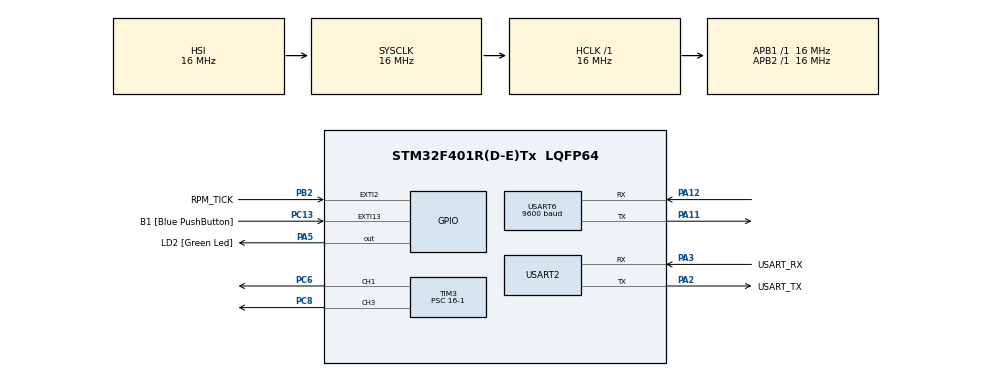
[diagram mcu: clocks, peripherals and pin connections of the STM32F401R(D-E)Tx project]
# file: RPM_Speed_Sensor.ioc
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Mcu.Family=STM32F4
Mcu.Name=STM32F401R(D-E)Tx
Mcu.Package=LQFP64
NVIC.EXTI15_10_IRQn=true\:0\:0\:false\:false\:true\:true\:true\:true
NVIC.EXTI2_IRQn=true\:0\:0\:false\:false\:true\:true\:true\:true
NVIC.PriorityGroup=NVIC_PRIORITYGROUP_0
NVIC.TIM3_IRQn=true\:0\:0\:false\:false\:true\:true\:true\:true
NVIC.USART6_IRQn=true\:0\:0\:false\:false\:true\:true\:true\:true
PA11.Mode=Asynchronous
PA11.Signal=USART6_TX
PA12.Mode=Asynchronous
PA12.Signal=USART6_RX
PA13.GPIO_Label=TMS
PA13.Mode=Serial_Wire
PA13.Signal=SYS_JTMS-SWDIO
PA14.GPIO_Label=TCK
PA14.Mode=Serial_Wire
PA14.Signal=SYS_JTCK-SWCLK
PA2.GPIO_Label=USART_TX
PA2.GPIO_Mode=GPIO_MODE_AF_PP
PA2.GPIO_PuPd=GPIO_NOPULL
PA2.GPIO_Speed=GPIO_SPEED_FREQ_LOW
PA2.Mode=Asynchronous
PA2.Signal=USART2_TX
PA3.GPIO_Label=USART_RX
PA3.GPIO_Mode=GPIO_MODE_AF_PP
PA3.GPIO_PuPd=GPIO_NOPULL
PA3.GPIO_Speed=GPIO_SPEED_FREQ_LOW
PA3.Mode=Asynchronous
PA3.Signal=USART2_RX
PA5.GPIO_Label=LD2 [Green Led]
PA5.GPIO_Mode=GPIO_MODE_OUTPUT_PP
PA5.GPIO_PuPd=GPIO_NOPULL
PA5.GPIO_Speed=GPIO_SPEED_FREQ_LOW
PA5.Signal=GPIO_Output
PB2.GPIO_Label=RPM_TICK
PB2.Signal=GPXTI2
PB3.GPIO_Label=SWO
PB3.Signal=SYS_JTDO-SWO
PC13-ANTI_TAMP.GPIO_Label=B1 [Blue PushButton]
PC13-ANTI_TAMP.GPIO_ModeDefaultEXTI=GPIO_MODE_IT_FALLING
PC13-ANTI_TAMP.GPIO_PuPd=GPIO_NOPULL
PC13-ANTI_TAMP.Signal=GPXTI13
PC14-OSC32_IN.Mode=LSE-External-Oscillator
PC14-OSC32_IN.Signal=RCC_OSC32_IN
PC15-OSC32_OUT.Mode=LSE-External-Oscillator
PC15-OSC32_OUT.Signal=RCC_OSC32_OUT
PC6.Signal=S_TIM3_CH1
PC8.Signal=S_TIM3_CH3
PH0\ -\ OSC_IN.Mode=HSE-External-Clock-Source
PH0\ -\ OSC_IN.Signal=RCC_OSC_IN
PH1\ -\ OSC_OUT.Mode=HSE-External-Clock-Source
PH1\ -\ OSC_OUT.Signal=RCC_OSC_OUT
ProjectManager.HeapSize=0x200
ProjectManager.StackSize=0x400
ProjectManager.TargetToolchain=STM32CubeIDE
RCC.48MHZClocksFreq_Value=48000000
RCC.AHBFreq_Value=16000000
RCC.APB1Freq_Value=16000000
RCC.APB1TimFreq_Value=16000000
RCC.APB2Freq_Value=16000000
RCC.APB2TimFreq_Value=16000000
RCC.CortexFreq_Value=16000000
RCC.HCLKFreq_Value=16000000
RCC.HSE_VALUE=8000000
RCC.HSI_VALUE=16000000
RCC.PLLN=336
RCC.PLLP=RCC_PLLP_DIV4
RCC.PLLQ=7
RCC.SYSCLKFreq_VALUE=16000000
RCC.VCOOutputFreq_Value=336000000
SH.S_TIM3_CH1.0=TIM3_CH1,PWM Generation1 CH1
SH.S_TIM3_CH3.0=TIM3_CH3,PWM Generation3 CH3
TIM3.Channel-PWM\ Generation1\ CH1=TIM_CHANNEL_1
TIM3.Channel-PWM\ Generation3\ CH3=TIM_CHANNEL_3
TIM3.Period=2000-1
TIM3.Prescaler=16-1
TIM3.Pulse-PWM\ Generation1\ CH1=1200-1
USART2.VirtualMode=VM_ASYNC
USART6.BaudRate=9600
USART6.VirtualMode=VM_ASYNC
VP_TIM3_VS_ClockSourceINT.Mode=Internal
board=NUCLEO-F401RE

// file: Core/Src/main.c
/* USER CODE BEGIN Header */
/**
  ******************************************************************************
  * @file           : main.c
  * @brief          : Main program body
  ******************************************************************************
  * @attention
  *
  * Copyright (c) 2024 STMicroelectronics.
  * All rights reserved.
  *
  * This software is licensed under terms that can be found in the LICENSE file
  * in the root directory of this software component.
  * If no LICENSE file comes with this software, it is provided AS-IS.
  *
  ******************************************************************************
  */
/* USER CODE END Header */
#include "main.h"

/* USER CODE BEGIN Includes */
#include <string.h>
#include <stdio.h>
/* USER CODE END Includes */

TIM_HandleTypeDef htim3;

UART_HandleTypeDef huart2;
UART_HandleTypeDef huart6;

void SystemClock_Config(void);
static void MX_GPIO_Init(void);
static void MX_USART2_UART_Init(void);
static void MX_TIM3_Init(void);
static void MX_USART6_UART_Init(void);

/* USER CODE BEGIN 0 */
int rpm_tick_count = 0;
/* USER CODE END 0 */

int main(void)
{

  /* USER CODE BEGIN 1 */
	uint8_t txd_msg_buffer[64] = {0};
  /* USER CODE END 1 */

  /* MCU Configuration--------------------------------------------------------*/

  /* Reset of all peripherals, Initializes the Flash interface and the Systick. */
  HAL_Init();

  /* Configure the system clock */
  SystemClock_Config();

  /* Initialize all configured peripherals */
  MX_GPIO_Init();
  MX_USART2_UART_Init();
  MX_TIM3_Init();
  MX_USART6_UART_Init();
  /* USER CODE BEGIN 2 */

  HAL_TIM_Base_Init(&htim3);
  HAL_TIM_PWM_Start(&htim3, TIM_CHANNEL_1);
  HAL_TIM_PWM_Start(&htim3, TIM_CHANNEL_3);

  int TIM3_Ch1_DCVAL = 0;
  int TIM3_Ch3_DCVAL = 0;
  /* USER CODE END 2 */

  /* Infinite loop */
  while (1)
  {

    /* USER CODE BEGIN 3 */
	  rpm_tick_count = 0;
	  while (TIM3_Ch1_DCVAL < 60000) {
		  TIM3_Ch1_DCVAL += 50;
		  TIM3->CCR1 = TIM3_Ch1_DCVAL;
		  HAL_Delay(1);
	  }

	  while (TIM3_Ch1_DCVAL > 0) {
		  TIM3_Ch1_DCVAL -= 50;
		  TIM3->CCR1 = TIM3_Ch1_DCVAL;
		  HAL_Delay(1);
	  }

	  sprintf((char *) txd_msg_buffer, "RPM: %d \r\n", rpm_tick_count);
	  HAL_UART_Transmit(&huart6, txd_msg_buffer, strlen((char *)txd_msg_buffer), 100);

	  HAL_Delay(5000);

	  rpm_tick_count = 0;

	  while (TIM3_Ch3_DCVAL < 60000) {
		  TIM3_Ch3_DCVAL += 50;
		  TIM3->CCR3 = TIM3_Ch3_DCVAL;
		  HAL_Delay(1);
	  }

	  while (TIM3_Ch3_DCVAL > 0) {
		  TIM3_Ch3_DCVAL -= 50;
		  TIM3->CCR3 = TIM3_Ch3_DCVAL;
		  HAL_Delay(1);
	  }

	  sprintf((char *) txd_msg_buffer, "RPM: %d \r\n", rpm_tick_count);
	  HAL_UART_Transmit(&huart6, txd_msg_buffer, strlen((char *)txd_msg_buffer), 100);

	  HAL_Delay(5000);
  }
  /* USER CODE END 3 */
}

void SystemClock_Config(void)
{
  RCC_OscInitTypeDef RCC_OscInitStruct = {0};
  RCC_ClkInitTypeDef RCC_ClkInitStruct = {0};

  /** Configure the main internal regulator output voltage
  */
  __HAL_RCC_PWR_CLK_ENABLE();
  __HAL_PWR_VOLTAGESCALING_CONFIG(PWR_REGULATOR_VOLTAGE_SCALE2);

  /** Initializes the RCC Oscillators according to the specified parameters
  * in the RCC_OscInitTypeDef structure.
  */
  RCC_OscInitStruct.OscillatorType = RCC_OSCILLATORTYPE_HSI;
  RCC_OscInitStruct.HSIState = RCC_HSI_ON;
  RCC_OscInitStruct.HSICalibrationValue = RCC_HSICALIBRATION_DEFAULT;
  RCC_OscInitStruct.PLL.PLLState = RCC_PLL_NONE;
  if (HAL_RCC_OscConfig(&RCC_OscInitStruct) != HAL_OK)
  {
    Error_Handler();
  }

  /** Initializes the CPU, AHB and APB buses clocks
  */
  RCC_ClkInitStruct.ClockType = RCC_CLOCKTYPE_HCLK|RCC_CLOCKTYPE_SYSCLK
                              |RCC_CLOCKTYPE_PCLK1|RCC_CLOCKTYPE_PCLK2;
  RCC_ClkInitStruct.SYSCLKSource = RCC_SYSCLKSOURCE_HSI;
  RCC_ClkInitStruct.AHBCLKDivider = RCC_SYSCLK_DIV1;
  RCC_ClkInitStruct.APB1CLKDivider = RCC_HCLK_DIV1;
  RCC_ClkInitStruct.APB2CLKDivider = RCC_HCLK_DIV1;

  if (HAL_RCC_ClockConfig(&RCC_ClkInitStruct, FLASH_LATENCY_0) != HAL_OK)
  {
    Error_Handler();
  }
}

static void MX_TIM3_Init(void)
{

  TIM_ClockConfigTypeDef sClockSourceConfig = {0};
  TIM_MasterConfigTypeDef sMasterConfig = {0};
  TIM_OC_InitTypeDef sConfigOC = {0};

  htim3.Instance = TIM3;
  htim3.Init.Prescaler = 16-1;
  htim3.Init.CounterMode = TIM_COUNTERMODE_UP;
  htim3.Init.Period = 2000-1;
  htim3.Init.ClockDivision = TIM_CLOCKDIVISION_DIV1;
  htim3.Init.AutoReloadPreload = TIM_AUTORELOAD_PRELOAD_DISABLE;
  if (HAL_TIM_Base_Init(&htim3) != HAL_OK)
  {
    Error_Handler();
  }
  sClockSourceConfig.ClockSource = TIM_CLOCKSOURCE_INTERNAL;
  if (HAL_TIM_ConfigClockSource(&htim3, &sClockSourceConfig) != HAL_OK)
  {
    Error_Handler();
  }
  if (HAL_TIM_PWM_Init(&htim3) != HAL_OK)
  {
    Error_Handler();
  }
  sMasterConfig.MasterOutputTrigger = TIM_TRGO_RESET;
  sMasterConfig.MasterSlaveMode = TIM_MASTERSLAVEMODE_DISABLE;
  if (HAL_TIMEx_MasterConfigSynchronization(&htim3, &sMasterConfig) != HAL_OK)
  {
    Error_Handler();
  }
  sConfigOC.OCMode = TIM_OCMODE_PWM1;
  sConfigOC.Pulse = 1200-1;
  sConfigOC.OCPolarity = TIM_OCPOLARITY_HIGH;
  sConfigOC.OCFastMode = TIM_OCFAST_DISABLE;
  if (HAL_TIM_PWM_ConfigChannel(&htim3, &sConfigOC, TIM_CHANNEL_1) != HAL_OK)
  {
    Error_Handler();
  }
  sConfigOC.Pulse = 0;
  if (HAL_TIM_PWM_ConfigChannel(&htim3, &sConfigOC, TIM_CHANNEL_3) != HAL_OK)
  {
    Error_Handler();
  }
  HAL_TIM_MspPostInit(&htim3);

}

static void MX_USART2_UART_Init(void)
{

  huart2.Instance = USART2;
  huart2.Init.BaudRate = 115200;
  huart2.Init.WordLength = UART_WORDLENGTH_8B;
  huart2.Init.StopBits = UART_STOPBITS_1;
  huart2.Init.Parity = UART_PARITY_NONE;
  huart2.Init.Mode = UART_MODE_TX_RX;
  huart2.Init.HwFlowCtl = UART_HWCONTROL_NONE;
  huart2.Init.OverSampling = UART_OVERSAMPLING_16;
  if (HAL_UART_Init(&huart2) != HAL_OK)
  {
    Error_Handler();
  }

}

static void MX_USART6_UART_Init(void)
{

  huart6.Instance = USART6;
  huart6.Init.BaudRate = 9600;
  huart6.Init.WordLength = UART_WORDLENGTH_8B;
  huart6.Init.StopBits = UART_STOPBITS_1;
  huart6.Init.Parity = UART_PARITY_NONE;
  huart6.Init.Mode = UART_MODE_TX_RX;
  huart6.Init.HwFlowCtl = UART_HWCONTROL_NONE;
  huart6.Init.OverSampling = UART_OVERSAMPLING_16;
  if (HAL_UART_Init(&huart6) != HAL_OK)
  {
    Error_Handler();
  }

}

static void MX_GPIO_Init(void)
{
  GPIO_InitTypeDef GPIO_InitStruct = {0};

  /* GPIO Ports Clock Enable */
  __HAL_RCC_GPIOC_CLK_ENABLE();
  __HAL_RCC_GPIOH_CLK_ENABLE();
  __HAL_RCC_GPIOA_CLK_ENABLE();
  __HAL_RCC_GPIOB_CLK_ENABLE();

  /*Configure GPIO pin Output Level */
  HAL_GPIO_WritePin(LD2_GPIO_Port, LD2_Pin, GPIO_PIN_RESET);

  /*Configure GPIO pin : B1_Pin */
  GPIO_InitStruct.Pin = B1_Pin;
  GPIO_InitStruct.Mode = GPIO_MODE_IT_FALLING;
  GPIO_InitStruct.Pull = GPIO_NOPULL;
  HAL_GPIO_Init(B1_GPIO_Port, &GPIO_InitStruct);

  /*Configure GPIO pin : LD2_Pin */
  GPIO_InitStruct.Pin = LD2_Pin;
  GPIO_InitStruct.Mode = GPIO_MODE_OUTPUT_PP;
  GPIO_InitStruct.Pull = GPIO_NOPULL;
  GPIO_InitStruct.Speed = GPIO_SPEED_FREQ_LOW;
  HAL_GPIO_Init(LD2_GPIO_Port, &GPIO_InitStruct);

  /*Configure GPIO pin : RPM_TICK_Pin */
  GPIO_InitStruct.Pin = RPM_TICK_Pin;
  GPIO_InitStruct.Mode = GPIO_MODE_IT_RISING;
  GPIO_InitStruct.Pull = GPIO_NOPULL;
  HAL_GPIO_Init(RPM_TICK_GPIO_Port, &GPIO_InitStruct);

  /* EXTI interrupt init*/
  HAL_NVIC_SetPriority(EXTI2_IRQn, 0, 0);
  HAL_NVIC_EnableIRQ(EXTI2_IRQn);

  HAL_NVIC_SetPriority(EXTI15_10_IRQn, 0, 0);
  HAL_NVIC_EnableIRQ(EXTI15_10_IRQn);

}

/* USER CODE BEGIN 4 */
void HAL_GPIO_EXTI_Callback(uint16_t GPIO_Pin) {
	if (GPIO_Pin == RPM_TICK_Pin) {
		rpm_tick_count += 1;
	}
}
/* USER CODE END 4 */

void Error_Handler(void)
{
  __disable_irq();
  while (1)
  {
  }
}
